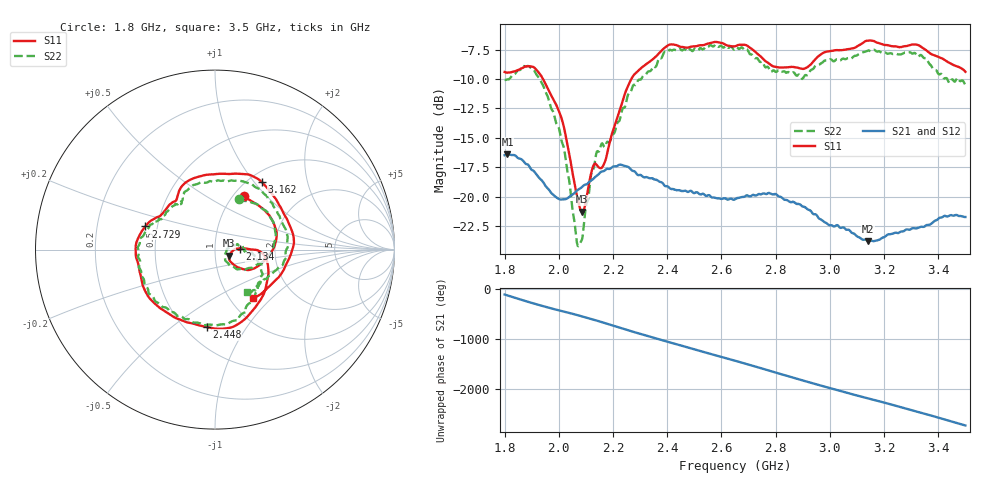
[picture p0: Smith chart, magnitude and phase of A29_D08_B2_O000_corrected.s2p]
! Created with skrf 1.9.0 (http://scikit-rf.org).
# Hz S RI R 50.0
!freq ReS11 ImS11 ReS21 ImS21 ReS12 ImS12 ReS22 ImS22
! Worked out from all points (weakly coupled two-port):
!   1601 points, 1.8 GHz to 3.5 GHz, reference 50 ohm
!   highest |S21| = -16.39 dB at 1.811 GHz (marker M1); lowest = -23.8 dB at 3.142 GHz (marker M2)
!   lowest |S11| = -21.3 dB at 2.086 GHz (marker M3), VSWR 1.19, Z = 58.5 - j3.88 ohm
!   |S11| at or under -10 dB: 1.942 GHz to 2.268 GHz (325.8 MHz wide, 15.5 % of centre)
!   |S22| runs from -24.2 to -7.1 dB; largest |S21 - S12| = 0.003
!   S11 on the Smith chart (normalised r, x): 1.8 GHz: 1.11, +0.75; 2.134 GHz: 1.32, +0.01; 2.448 GHz: 0.63, -0.67; 2.729 GHz: 0.43, +0.13; 3.162 GHz: 1.15, +1.09; 3.5 GHz: 1.27, -0.77
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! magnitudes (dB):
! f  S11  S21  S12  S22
! 1.8 GHz  -9.4  -16.5  -16.5  -10.1
! 1.811 GHz  -9.5  -16.4  -16.4  -10.0
! 1.885 GHz  -8.9  -17.2  -17.3  -8.9
! 1.94 GHz  -9.9  -18.7  -18.7  -10.5
! 2.011 GHz  -13.4  -20.2  -20.2  -15.4
! 2.066 GHz  -19.8  -19.5  -19.5  -23.7
! 2.084 GHz  -21.2  -19.2  -19.2  -23.7
! 2.086 GHz  -21.3  -19.2  -19.2  -23.6
! 2.134 GHz  -17.2  -18.3  -18.3  -16.9
! 2.167 GHz  -17.2  -17.8  -17.8  -15.7
! 2.269 GHz  -10.0  -17.7  -17.7  -10.9
! 2.367 GHz  -7.9  -18.6  -18.6  -8.3
! 2.448 GHz  -7.3  -19.5  -19.5  -7.5
! 2.65 GHz  -7.2  -20.2  -20.2  -7.4
! 2.729 GHz  -7.8  -19.9  -19.9  -8.2
! 2.802 GHz  -9.0  -19.8  -19.8  -9.4
! 2.934 GHz  -8.7  -21.3  -21.3  -9.2
! 3.142 GHz  -6.7  -23.8  -23.7  -7.6
! 3.162 GHz  -6.8  -23.8  -23.7  -7.5
! 3.217 GHz  -7.1  -23.2  -23.2  -7.8
! 3.338 GHz  -7.3  -22.5  -22.5  -8.0
! 3.5 GHz  -9.4  -21.7  -21.7  -10.5
